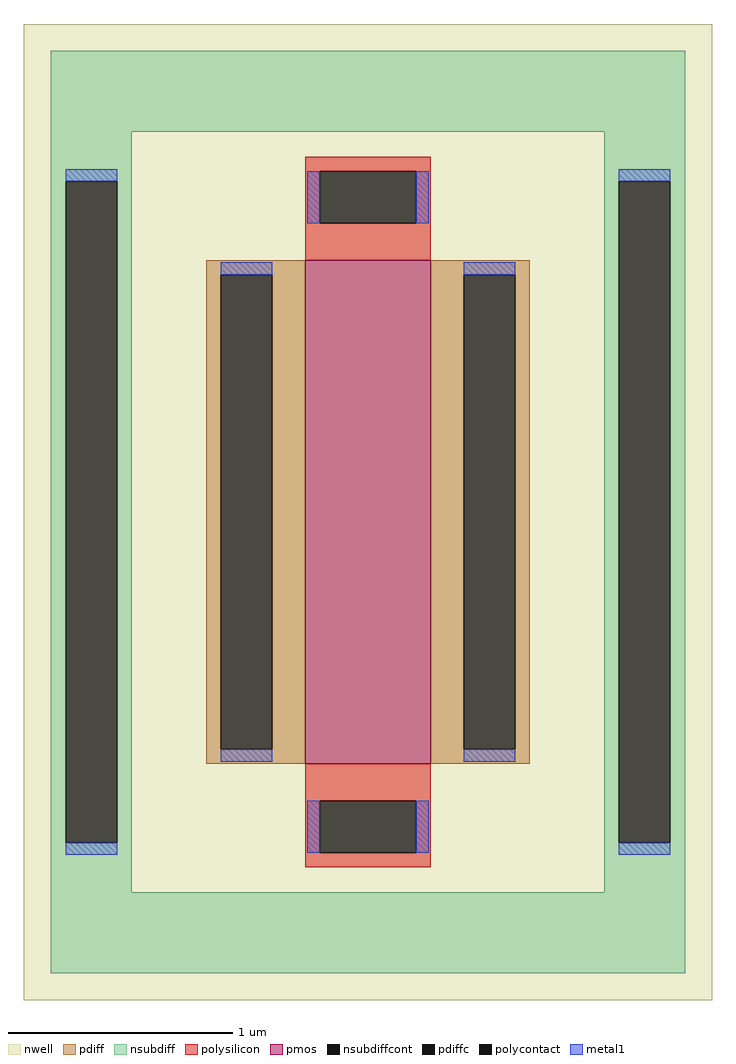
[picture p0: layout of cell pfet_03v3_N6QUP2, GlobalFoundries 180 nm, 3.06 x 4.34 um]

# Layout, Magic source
magic
tech gf180mcuD
magscale 1 10
<< nwell >>
rect -306 -434 306 434
<< pmos >>
rect -56 -224 56 224
<< pdiff >>
rect -144 211 -56 224
rect -144 -211 -131 211
rect -85 -211 -56 211
rect -144 -224 -56 -211
rect 56 211 144 224
rect 56 -211 85 211
rect 131 -211 144 211
rect 56 -224 144 -211
<< pdiffc >>
rect -131 -211 -85 211
rect 85 -211 131 211
<< nsubdiff >>
rect -282 338 282 410
rect -282 294 -210 338
rect -282 -294 -269 294
rect -223 -294 -210 294
rect 210 294 282 338
rect -282 -338 -210 -294
rect 210 -294 223 294
rect 269 -294 282 294
rect 210 -338 282 -294
rect -282 -410 282 -338
<< nsubdiffcont >>
rect -269 -294 -223 294
rect 223 -294 269 294
<< polysilicon >>
rect -56 303 56 316
rect -56 257 -43 303
rect 43 257 56 303
rect -56 224 56 257
rect -56 -257 56 -224
rect -56 -303 -43 -257
rect 43 -303 56 -257
rect -56 -316 56 -303
<< polycontact >>
rect -43 257 43 303
rect -43 -303 43 -257
<< metal1 >>
rect -269 294 -223 305
rect -54 257 -43 303
rect 43 257 54 303
rect 223 294 269 305
rect -131 211 -85 222
rect -131 -222 -85 -211
rect 85 211 131 222
rect 85 -222 131 -211
rect -269 -305 -223 -294
rect -54 -303 -43 -257
rect 43 -303 54 -257
rect 223 -305 269 -294
<< properties >>
string FIXED_BBOX -246 -374 246 374
string gencell pfet_03v3
string library gf180mcu
string parameters w 2.24 l 0.56 m 1 nf 1 diffcov 100 polycov 100 guard 1 glc 1 grc 1 gtc 0 gbc 0 tbcov 100 rlcov 100 topc 1 botc 1 poverlap 0 doverlap 1 lmin 0.28 wmin 0.22 class mosfet full_metal 0 compatible {pfet_03v3 pfet_05v0 pfet_06v0}
<< end >>
